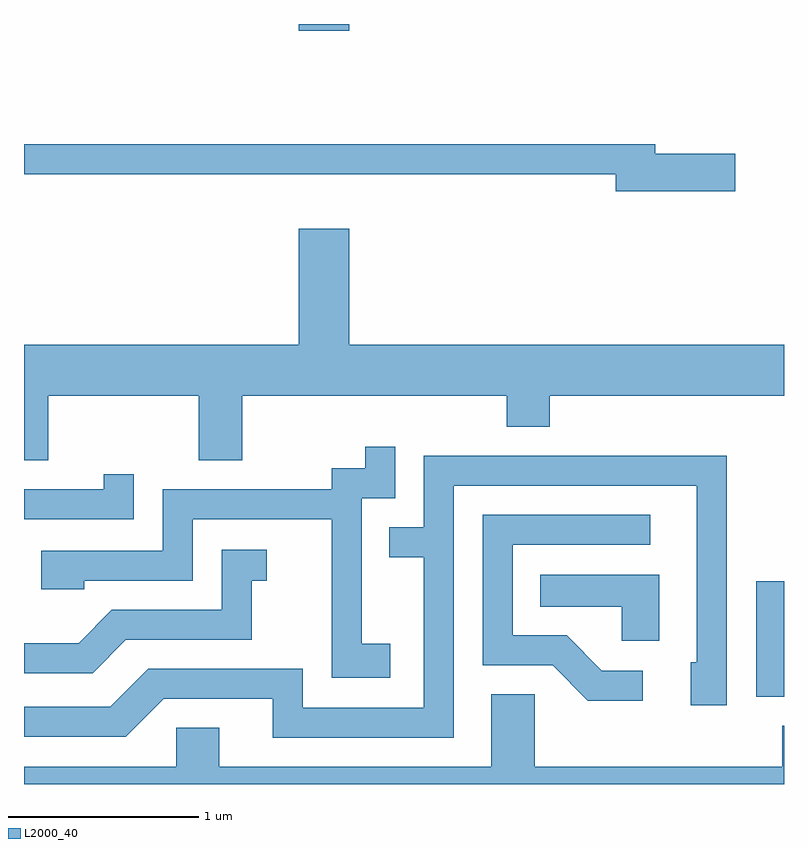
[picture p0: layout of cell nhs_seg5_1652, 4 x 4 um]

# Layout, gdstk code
import gdstk
lib = gdstk.Library(unit=1e-6, precision=1e-09)
def R(c, l, rs):  # rectangles x0, y0, x1, y1
    for r in rs: c.add(gdstk.rectangle(r[:2], r[2:], *l))
def P(c, l, *ps):  # polygons
    for p in ps: c.add(gdstk.Polygon(p, *l))
L2000_40 = (2000, 40)

nhs_seg5_1652 = lib.new_cell('nhs_seg5_1652')
R(nhs_seg5_1652, L2000_40, [(237.466,1468.531,237.611,1469.138), (235.056,1472.036,235.324,1472.072)])
P(nhs_seg5_1652, L2000_40, [(237.354,1471.389),(236.934,1471.389),(236.934,1471.439),(233.611,1471.439),(233.611,1471.281),(236.726,1471.281),(236.726,1471.191),(237.354,1471.191)],
  [(233.739,1470.116),(234.531,1470.116),(234.531,1469.776),(234.759,1469.776),(234.759,1470.116),(236.151,1470.116),(236.151,1469.951),(236.379,1469.951),(236.379,1470.116),(237.611,1470.116),(237.611,1470.384),(235.324,1470.384),(235.324,1470.994),(235.056,1470.994),(235.056,1470.384),(233.611,1470.384),(233.611,1469.776),(233.739,1469.776)],
  [(235.539,1468.809),(235.389,1468.809),(235.389,1469.576),(235.564,1469.576),(235.564,1469.848),(235.406,1469.848),(235.406,1469.734),(235.231,1469.734),(235.231,1469.624),(234.341,1469.624),(234.341,1469.299),(233.701,1469.299),(233.701,1469.096),(233.929,1469.096),(233.929,1469.141),(234.499,1469.141),(234.499,1469.466),(235.231,1469.466),(235.231,1468.631),(235.539,1468.631)],
  [(235.874,1469.641),(237.151,1469.641),(237.151,1468.714),(237.121,1468.714),(237.121,1468.486),(237.309,1468.486),(237.309,1469.799),(235.716,1469.799),(235.716,1469.424),(235.533,1469.424),(235.533,1469.266),(235.716,1469.266),(235.716,1468.474),(235.079,1468.474),(235.079,1468.679),(234.264,1468.679),(234.064,1468.479),(233.611,1468.479),(233.611,1468.321),(234.147,1468.321),(234.347,1468.521),(234.921,1468.521),(234.921,1468.316),(235.874,1468.316)],
  [(234.189,1469.703),(234.031,1469.703),(234.031,1469.624),(233.611,1469.624),(233.611,1469.466),(234.189,1469.466)],
  [(236.868,1468.669),(236.652,1468.669),(236.467,1468.854),(236.184,1468.854),(236.184,1469.331),(236.908,1469.331),(236.908,1469.489),(236.026,1469.489),(236.026,1468.696),(236.394,1468.696),(236.579,1468.511),(236.868,1468.511)],
  [(234.147,1468.831),(234.809,1468.831),(234.809,1469.141),(234.888,1469.141),(234.888,1469.304),(234.651,1469.304),(234.651,1468.989),(234.074,1468.989),(233.899,1468.814),(233.611,1468.814),(233.611,1468.656),(233.972,1468.656)],
  [(236.954,1469.174),(236.328,1469.174),(236.328,1469.006),(236.756,1469.006),(236.756,1468.826),(236.954,1468.826)],
  [(237.611,1468.379),(237.601,1468.379),(237.601,1468.164),(236.299,1468.164),(236.299,1468.544),(236.071,1468.544),(236.071,1468.164),(234.639,1468.164),(234.639,1468.369),(234.411,1468.369),(234.411,1468.164),(233.611,1468.164),(233.611,1468.072),(237.611,1468.072)])

lib.write_gds('nhs_seg5_1652.gds')
